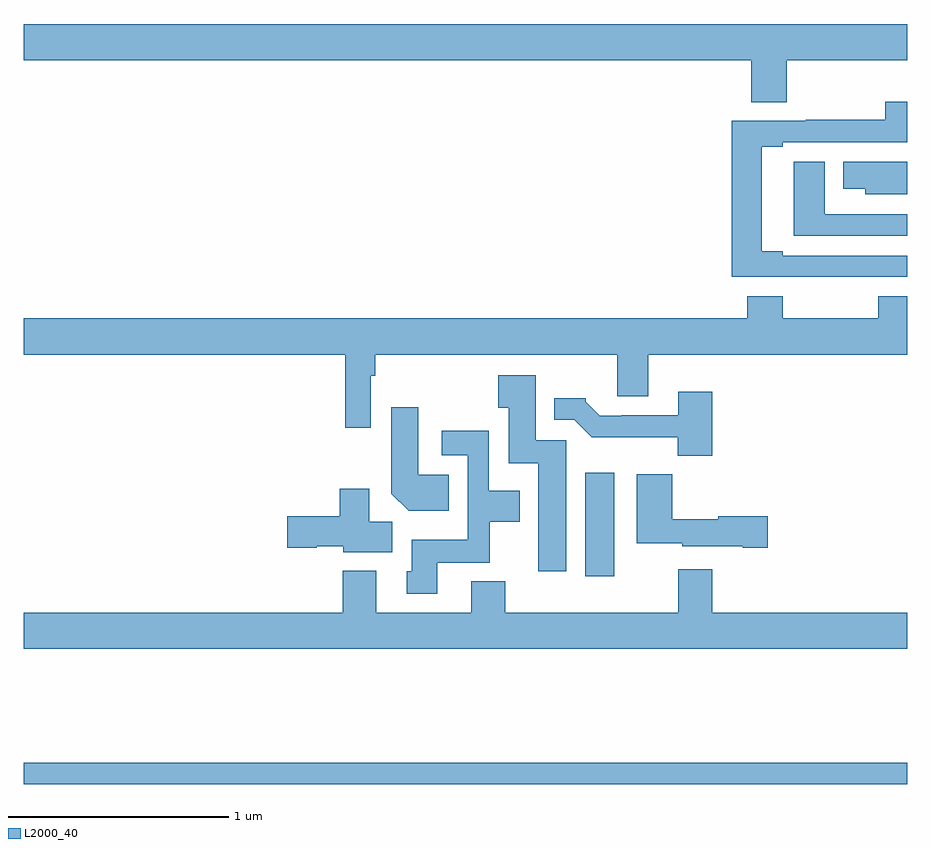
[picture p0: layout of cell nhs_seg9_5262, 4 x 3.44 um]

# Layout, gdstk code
import gdstk
lib = gdstk.Library(unit=1e-6, precision=1e-09)
def R(c, l, rs):  # rectangles x0, y0, x1, y1
    for r in rs: c.add(gdstk.rectangle(r[:2], r[2:], *l))
def P(c, l, *ps):  # polygons
    for p in ps: c.add(gdstk.Polygon(p, *l))
L2000_40 = (2000, 40)

nhs_seg9_5262 = lib.new_cell('nhs_seg9_5262')
R(nhs_seg9_5262, L2000_40, [(417,1170.5,421,1170.596), (419.543,1171.44,419.674,1171.909)])
P(nhs_seg9_5262, L2000_40, [(420.453,1173.776),(421,1173.776),(421,1173.94),(417,1173.94),(417,1173.776),(420.293,1173.776),(420.293,1173.586),(420.453,1173.586)],
  [(420.779,1172.796),(421,1172.796),(421,1172.892),(420.436,1172.892),(420.436,1172.912),(420.34,1172.912),(420.34,1173.385),(420.436,1173.385),(420.436,1173.405),(421,1173.405),(421,1173.589),(420.9,1173.589),(420.9,1173.506),(420.541,1173.506),(420.541,1173.501),(420.206,1173.501),(420.206,1172.796),(420.523,1172.796),(420.523,1172.795),(420.779,1172.795)],
  [(421,1173.316),(420.71,1173.316),(420.71,1173.194),(420.81,1173.194),(420.81,1173.17),(421,1173.17)],
  [(421,1173.078),(420.625,1173.078),(420.625,1173.316),(420.485,1173.316),(420.485,1172.982),(421,1172.982)],
  [(418.572,1172.348),(418.592,1172.348),(418.592,1172.444),(419.687,1172.444),(419.687,1172.254),(419.827,1172.254),(419.827,1172.444),(421,1172.444),(421,1172.707),(420.868,1172.707),(420.868,1172.608),(420.435,1172.608),(420.435,1172.707),(420.275,1172.707),(420.275,1172.608),(417,1172.608),(417,1172.444),(418.456,1172.444),(418.456,1172.112),(418.572,1172.112)],
  [(419.455,1172.055),(419.317,1172.055),(419.317,1172.35),(419.149,1172.35),(419.149,1172.203),(419.195,1172.203),(419.195,1171.952),(419.33,1171.952),(419.33,1171.464),(419.455,1171.464)],
  [(420.116,1172.275),(419.963,1172.275),(419.963,1172.169),(419.707,1172.169),(419.707,1172.166),(419.608,1172.166),(419.544,1172.23),(419.544,1172.245),(419.402,1172.245),(419.402,1172.148),(419.493,1172.148),(419.572,1172.07),(419.961,1172.07),(419.961,1171.985),(420.116,1171.985)],
  [(418.925,1171.9),(418.786,1171.9),(418.786,1172.206),(418.664,1172.206),(418.664,1171.814),(418.742,1171.736),(418.925,1171.736)],
  [(418.873,1171.502),(419.109,1171.502),(419.109,1171.688),(419.245,1171.688),(419.245,1171.828),(419.106,1171.828),(419.106,1172.098),(418.893,1172.098),(418.893,1171.989),(419.01,1171.989),(419.01,1171.606),(418.757,1171.606),(418.757,1171.464),(418.733,1171.464),(418.733,1171.362),(418.873,1171.362)],
  [(420.367,1171.712),(420.144,1171.712),(420.144,1171.699),(419.936,1171.699),(419.936,1171.903),(419.774,1171.903),(419.774,1171.589),(419.982,1171.589),(419.982,1171.577),(420.254,1171.577),(420.254,1171.57),(420.367,1171.57)],
  [(418.669,1171.688),(418.564,1171.688),(418.564,1171.837),(418.43,1171.837),(418.43,1171.712),(418.194,1171.712),(418.194,1171.57),(418.326,1171.57),(418.326,1171.577),(418.446,1171.577),(418.446,1171.55),(418.669,1171.55)],
  [(421,1171.276),(420.116,1171.276),(420.116,1171.471),(419.963,1171.471),(419.963,1171.276),(419.18,1171.276),(419.18,1171.417),(419.027,1171.417),(419.027,1171.276),(418.597,1171.276),(418.597,1171.465),(418.445,1171.465),(418.445,1171.276),(417,1171.276),(417,1171.112),(421,1171.112)])

lib.write_gds('nhs_seg9_5262.gds')
